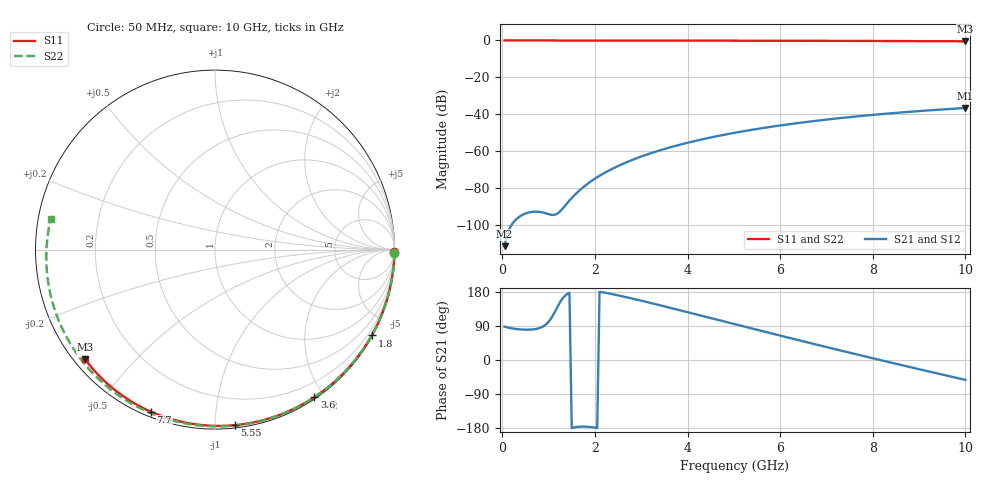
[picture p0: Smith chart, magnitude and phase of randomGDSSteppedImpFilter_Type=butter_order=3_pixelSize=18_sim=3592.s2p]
! freq	dB(S11)	phase(S11)	dB(S12)	phase(S12)
!  dB(S21)	phase(S21)	dB(S22)	phase(S22)
!S-par simulation data
#  GHz  S  DB  R 50
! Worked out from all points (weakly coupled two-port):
!   200 points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, 50 MHz to 10 GHz, reference 50 ohm
!   highest |S21| = -36.64 dB at 10 GHz (marker M1); lowest = -111.6 dB at 50 MHz (marker M2)
!   lowest |S11| = -0.5 dB at 10 GHz (marker M3), VSWR 36.73, Z = 1.54 - j18.2 ohm
!   |S11| at or under -10 dB: nowhere
!   |S22| runs from -0.6 to 0.0 dB; largest |S21 - S12| = 0
!   S11 on the Smith chart (normalised r, x): 50 MHz: open; 1.8 GHz: 0.03, -3.91; 3.6 GHz: 0.02, -1.88; 5.55 GHz: 0.02, -1.12; 7.7 GHz: 0.02, -0.68; 10 GHz: 0.03, -0.36
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0.05  -0.00 -0.8  -111.56 88.1  -111.56 88.1  -0.00 -1.1
0.45  -0.01 -7.3  -94.40 80.2  -94.40 80.2  -0.01 -9.5
0.85  -0.02 -13.7  -93.17 86.6  -93.17 86.6  -0.02 -17.9
1.25  -0.03 -20.1  -92.65 153.3  -92.65 153.3  -0.03 -26.2
1.7  -0.03 -27.1  -80.59 -175.7  -80.59 -175.7  -0.04 -35.4
1.75  -0.04 -27.9  -79.53 -175.7  -79.53 -175.7  -0.05 -36.4
1.8  -0.04 -28.7  -78.53 -175.8  -78.53 -175.8  -0.05 -37.4
2.1  -0.04 -33.4  -73.38 180.0  -73.38 180.0  -0.05 -43.5
2.5  -0.05 -39.5  -68.08 170.6  -68.08 170.6  -0.07 -51.4
2.9  -0.06 -45.6  -63.87 159.5  -63.87 159.5  -0.08 -59.3
3.4  -0.07 -53.1  -59.61 144.6  -59.61 144.6  -0.09 -68.9
3.6  -0.08 -56.1  -58.14 138.5  -58.14 138.5  -0.10 -72.7
4.3  -0.09 -66.2  -53.71 116.9  -53.71 116.9  -0.12 -85.8
5.05  -0.12 -76.8  -49.92 93.6  -49.92 93.6  -0.15 -99.5
5.55  -0.14 -83.6  -47.80 78.2  -47.80 78.2  -0.18 -108.4
6.1  -0.16 -91.0  -45.75 61.4  -45.75 61.4  -0.21 -118.1
6.7  -0.19 -98.8  -43.79 43.2  -43.79 43.2  -0.25 -128.7
7.7  -0.26 -111.6  -41.06 13.4  -41.06 13.4  -0.34 -146.4
8.35  -0.31 -119.7  -39.58 -5.6  -39.58 -5.6  -0.40 -158.2
9.2  -0.39 -130.1  -37.93 -30.0  -37.93 -30.0  -0.51 -174.3
9.6  -0.43 -135.0  -37.25 -41.3  -37.25 -41.3  -0.56 177.7
10  -0.47 -139.9  -36.64 -52.5  -36.64 -52.5  -0.62 169.4
